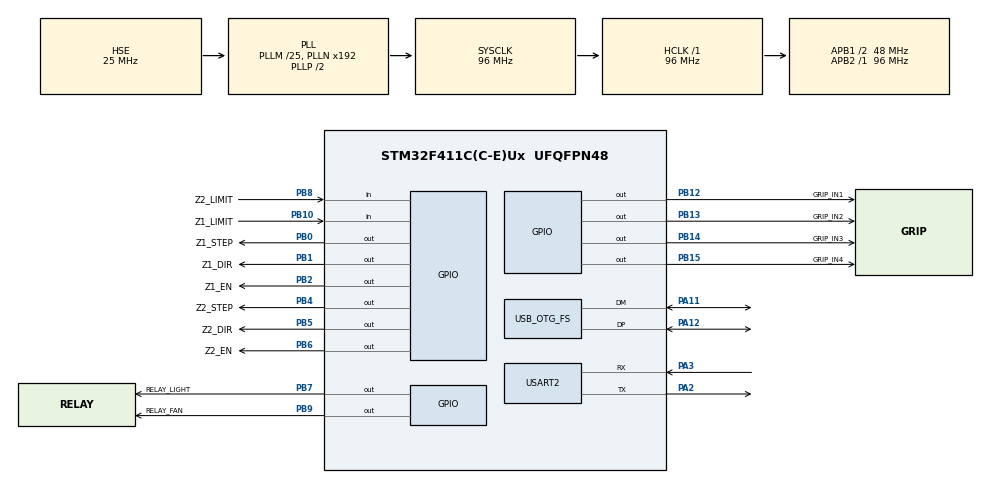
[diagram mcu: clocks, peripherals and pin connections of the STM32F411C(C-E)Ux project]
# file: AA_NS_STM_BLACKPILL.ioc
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Mcu.Family=STM32F4
Mcu.Name=STM32F411C(C-E)Ux
Mcu.Package=UFQFPN48
NVIC.OTG_FS_IRQn=true\:5\:0\:true\:false\:true\:false\:true\:true
NVIC.PriorityGroup=NVIC_PRIORITYGROUP_4
NVIC.TIM3_IRQn=true\:0\:0\:false\:false\:true\:true\:true\:true
NVIC.USART2_IRQn=true\:5\:0\:true\:false\:true\:true\:true\:true
PA11.Mode=Device_Only
PA11.Signal=USB_OTG_FS_DM
PA12.Mode=Device_Only
PA12.Signal=USB_OTG_FS_DP
PA13.Mode=Serial_Wire
PA13.Signal=SYS_JTMS-SWDIO
PA14.Mode=Serial_Wire
PA14.Signal=SYS_JTCK-SWCLK
PA2.Mode=Asynchronous
PA2.Signal=USART2_TX
PA3.Mode=Asynchronous
PA3.Signal=USART2_RX
PB0.GPIO_Label=Z1_STEP
PB0.Signal=GPIO_Output
PB1.GPIO_Label=Z1_DIR
PB1.Signal=GPIO_Output
PB10.GPIO_Label=Z1_LIMIT
PB10.GPIO_PuPd=GPIO_PULLUP
PB10.Signal=GPIO_Input
PB12.GPIO_Label=GRIP_IN1
PB12.Signal=GPIO_Output
PB13.GPIO_Label=GRIP_IN2
PB13.Signal=GPIO_Output
PB14.GPIO_Label=GRIP_IN3
PB14.Signal=GPIO_Output
PB15.GPIO_Label=GRIP_IN4
PB15.Signal=GPIO_Output
PB2.GPIO_Label=Z1_EN
PB2.Signal=GPIO_Output
PB4.GPIO_Label=Z2_STEP
PB4.Signal=GPIO_Output
PB5.GPIO_Label=Z2_DIR
PB5.Signal=GPIO_Output
PB6.GPIO_Label=Z2_EN
PB6.Signal=GPIO_Output
PB7.GPIO_Label=RELAY_LIGHT
PB7.Signal=GPIO_Output
PB8.GPIO_Label=Z2_LIMIT
PB8.GPIO_PuPd=GPIO_PULLUP
PB8.Signal=GPIO_Input
PB9.GPIO_Label=RELAY_FAN
PB9.Signal=GPIO_Output
PH0\ -\ OSC_IN.Mode=HSE-External-Oscillator
PH0\ -\ OSC_IN.Signal=RCC_OSC_IN
PH1\ -\ OSC_OUT.Mode=HSE-External-Oscillator
PH1\ -\ OSC_OUT.Signal=RCC_OSC_OUT
ProjectManager.HeapSize=0x200
ProjectManager.StackSize=0x400
ProjectManager.TargetToolchain=CMake
RCC.48MHZClocksFreq_Value=48000000
RCC.AHBFreq_Value=96000000
RCC.APB1CLKDivider=RCC_HCLK_DIV2
RCC.APB1Freq_Value=48000000
RCC.APB1TimFreq_Value=96000000
RCC.APB2Freq_Value=96000000
RCC.APB2TimFreq_Value=96000000
RCC.CortexFreq_Value=96000000
RCC.HCLKFreq_Value=96000000
RCC.HSE_VALUE=25000000
RCC.HSI_VALUE=16000000
RCC.LSE_VALUE=32768
RCC.PLLM=25
RCC.SYSCLKFreq_VALUE=96000000
RCC.SYSCLKSource=RCC_SYSCLKSOURCE_PLLCLK
RCC.VCOOutputFreq_Value=192000000
TIM3.Period=99
TIM3.Prescaler=99
USART2.VirtualMode=VM_ASYNC
USB_DEVICE.CLASS_NAME_FS=CDC
USB_DEVICE.VirtualMode=Cdc
USB_DEVICE.VirtualModeFS=Cdc_FS
USB_OTG_FS.VirtualMode=Device_Only
VP_TIM3_VS_ClockSourceINT.Mode=Internal
VP_USB_DEVICE_VS_USB_DEVICE_CDC_FS.Mode=CDC_FS
board=custom

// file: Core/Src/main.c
/* USER CODE BEGIN Header */
/**
  ******************************************************************************
  * @file           : main.c
  * @brief          : Main program body
  ******************************************************************************
  * @attention
  *
  * Copyright (c) 2026 STMicroelectronics.
  * All rights reserved.
  *
  * This software is licensed under terms that can be found in the LICENSE file
  * in the root directory of this software component.
  * If no LICENSE file comes with this software, it is provided AS-IS.
  *
  ******************************************************************************
  */
/* USER CODE END Header */
#include "main.h"
#include "usb_device.h"

/* USER CODE BEGIN Includes */
#include <stdio.h>
#include "relay.h"
#include "hatch.h"
#include "alignment.h"
#include "system.h"
#include "commands.h"
#include "console.h"
#include "stakhal_build_info.h"
/* USER CODE END Includes */

TIM_HandleTypeDef htim3;

UART_HandleTypeDef huart2;

/* USER CODE BEGIN PV */
/* All state (steppers, hatch, relays, UART command buffer) now lives
 * inside its own module - see relay.c, hatch.c, alignment.c, commands.c.
 * main.c no longer holds any of the system's runtime state itself. */
static IWDG_HandleTypeDef hiwdg;
/* USER CODE END PV */

void SystemClock_Config(void);
static void MX_GPIO_Init(void);
static void MX_TIM3_Init(void);
static void MX_USART2_UART_Init(void);
/* USER CODE BEGIN PFP */
/* (nothing needed here - relay.h/hatch.h/alignment.h/commands.h already
 * declare everything main.c calls) */
/* USER CODE END PFP */

/* USER CODE BEGIN 0 */
/* Everything that used to live here (stepper helpers, hatch GPIO,
 * relay GPIO, fault(), the TIM3 ISR, the UART RX callback) now lives in
 * its owning module. This file keeps only the printf-to-UART retarget,
 * since that's generic C-runtime glue, not domain logic. */
int _write(int file, char *ptr, int len) {
    (void)file;
    console_write((const uint8_t*)ptr, (uint16_t)len);
    return len;
}

static void print_banner(void) {
    printf("READY\r\nCAL REQUIRED\r\n");
    printf("STAKHAL_BUILD: %s\r\n", STAKHAL_BUILD_HASH);
}
/* USER CODE END 0 */

int main(void)
{

  /* MCU Configuration--------------------------------------------------------*/

  /* Reset of all peripherals, Initializes the Flash interface and the Systick. */
  HAL_Init();

  /* Configure the system clock */
  SystemClock_Config();

  /* Initialize all configured peripherals */
  MX_GPIO_Init();
  MX_TIM3_Init();
  MX_USART2_UART_Init();
  MX_USB_DEVICE_Init();
  /* USER CODE BEGIN 2 */
#ifndef RENODE_BUILD
  /* Independent watchdog: a separate internal timer that resets the
   * whole chip if the main loop ever stops refreshing it (a hang,
   * corrupted state, anything unanticipated) - a safety net of last
   * resort for a board that drives real motors and an actuator.
   * ~2s timeout (32kHz LSI / 64 prescaler, reload 999) - comfortably
   * longer than one loop iteration even with a blocking printf(), short
   * enough to recover quickly from a genuine hang. Once started this
   * cannot be stopped in software until the next full reset - that's a
   * hardware property of IWDG, not a bug.
   * Skipped entirely under RENODE_BUILD: Renode's IWDG timing runs
   * closer to host wall-clock than simulated LSI, and can trip this
   * spuriously when the sim is running slower than real-time - never
   * define RENODE_BUILD for a binary you intend to flash. */
  hiwdg.Instance = IWDG;
  hiwdg.Init.Prescaler = IWDG_PRESCALER_64;
  hiwdg.Init.Reload = 999;
  if (HAL_IWDG_Init(&hiwdg) != HAL_OK) {
      Error_Handler();
  }
#endif

  relay_init();      /* force light/fan off - don't trust CubeMX's GPIO init level */
  alignment_init(&htim3);
#ifdef CONSOLE_USB
  commands_init(NULL);          /* input arrives via console_usb_rx() */
#else
  commands_init(&huart2);
#endif
  HAL_TIM_Base_Start_IT(&htim3);

  print_banner();
  /* USER CODE END 2 */

  /* Infinite loop */
  while (1)
  {

    /* USER CODE BEGIN 3 */
    uint32_t now = HAL_GetTick();

    relay_update(now);
    hatch_update(now);
    alignment_update(now);
    commands_update(now);
    console_poll();
#ifdef CONSOLE_USB
    /* The boot banner is printed before the host has enumerated the
     * device, so it is lost; re-send it when the port is opened, unless
     * the session already started (a stale "CAL REQUIRED" would lie). */
    if (console_take_open_event() && !commands_seen_any()) {
        print_banner();
    }
#endif

    /* Pet the watchdog - must happen every iteration, and last, so a
     * hang anywhere above (not just a literal infinite loop, but any
     * module silently taking too long) is what trips the reset, not
     * something after it. Guarded the same as the init above - Renode's
     * IWDG timing can trip this spuriously; never define RENODE_BUILD
     * for a binary you intend to flash. */
#ifndef RENODE_BUILD
    HAL_IWDG_Refresh(&hiwdg);
#endif
  }
  /* USER CODE END 3 */
}

void SystemClock_Config(void)
{
  RCC_OscInitTypeDef RCC_OscInitStruct = {0};
  RCC_ClkInitTypeDef RCC_ClkInitStruct = {0};

  /** Configure the main internal regulator output voltage
  */
  __HAL_RCC_PWR_CLK_ENABLE();
  __HAL_PWR_VOLTAGESCALING_CONFIG(PWR_REGULATOR_VOLTAGE_SCALE1);

  /** Initializes the RCC Oscillators according to the specified parameters
  * in the RCC_OscInitTypeDef structure.
  */
  RCC_OscInitStruct.OscillatorType = RCC_OSCILLATORTYPE_HSE;
  RCC_OscInitStruct.HSEState = RCC_HSE_ON;
  RCC_OscInitStruct.PLL.PLLState = RCC_PLL_ON;
  RCC_OscInitStruct.PLL.PLLSource = RCC_PLLSOURCE_HSE;
  RCC_OscInitStruct.PLL.PLLM = 25;
  RCC_OscInitStruct.PLL.PLLN = 192;
  RCC_OscInitStruct.PLL.PLLP = RCC_PLLP_DIV2;
  RCC_OscInitStruct.PLL.PLLQ = 4;
  if (HAL_RCC_OscConfig(&RCC_OscInitStruct) != HAL_OK)
  {
    Error_Handler();
  }

  /** Initializes the CPU, AHB and APB buses clocks
  */
  RCC_ClkInitStruct.ClockType = RCC_CLOCKTYPE_HCLK|RCC_CLOCKTYPE_SYSCLK
                              |RCC_CLOCKTYPE_PCLK1|RCC_CLOCKTYPE_PCLK2;
  RCC_ClkInitStruct.SYSCLKSource = RCC_SYSCLKSOURCE_PLLCLK;
  RCC_ClkInitStruct.AHBCLKDivider = RCC_SYSCLK_DIV1;
  RCC_ClkInitStruct.APB1CLKDivider = RCC_HCLK_DIV2;
  RCC_ClkInitStruct.APB2CLKDivider = RCC_HCLK_DIV1;

  if (HAL_RCC_ClockConfig(&RCC_ClkInitStruct, FLASH_LATENCY_3) != HAL_OK)
  {
    Error_Handler();
  }
}

static void MX_TIM3_Init(void)
{

  TIM_ClockConfigTypeDef sClockSourceConfig = {0};
  TIM_MasterConfigTypeDef sMasterConfig = {0};

  htim3.Instance = TIM3;
  htim3.Init.Prescaler = 99;
  htim3.Init.CounterMode = TIM_COUNTERMODE_UP;
  htim3.Init.Period = 99;
  htim3.Init.ClockDivision = TIM_CLOCKDIVISION_DIV1;
  htim3.Init.AutoReloadPreload = TIM_AUTORELOAD_PRELOAD_DISABLE;
  if (HAL_TIM_Base_Init(&htim3) != HAL_OK)
  {
    Error_Handler();
  }
  sClockSourceConfig.ClockSource = TIM_CLOCKSOURCE_INTERNAL;
  if (HAL_TIM_ConfigClockSource(&htim3, &sClockSourceConfig) != HAL_OK)
  {
    Error_Handler();
  }
  sMasterConfig.MasterOutputTrigger = TIM_TRGO_RESET;
  sMasterConfig.MasterSlaveMode = TIM_MASTERSLAVEMODE_DISABLE;
  if (HAL_TIMEx_MasterConfigSynchronization(&htim3, &sMasterConfig) != HAL_OK)
  {
    Error_Handler();
  }

}

static void MX_USART2_UART_Init(void)
{

  huart2.Instance = USART2;
  huart2.Init.BaudRate = 115200;
  huart2.Init.WordLength = UART_WORDLENGTH_8B;
  huart2.Init.StopBits = UART_STOPBITS_1;
  huart2.Init.Parity = UART_PARITY_NONE;
  huart2.Init.Mode = UART_MODE_TX_RX;
  huart2.Init.HwFlowCtl = UART_HWCONTROL_NONE;
  huart2.Init.OverSampling = UART_OVERSAMPLING_16;
  if (HAL_UART_Init(&huart2) != HAL_OK)
  {
    Error_Handler();
  }

}

static void MX_GPIO_Init(void)
{
  GPIO_InitTypeDef GPIO_InitStruct = {0};

  /* GPIO Ports Clock Enable */
  __HAL_RCC_GPIOH_CLK_ENABLE();
  __HAL_RCC_GPIOA_CLK_ENABLE();
  __HAL_RCC_GPIOB_CLK_ENABLE();

  /*Configure GPIO pin Output Level */
  HAL_GPIO_WritePin(GPIOB, Z1_STEP_Pin|Z1_DIR_Pin|Z1_EN_Pin|GRIP_IN1_Pin
                          |GRIP_IN2_Pin|GRIP_IN3_Pin|GRIP_IN4_Pin|Z2_STEP_Pin
                          |Z2_DIR_Pin|Z2_EN_Pin|RELAY_LIGHT_Pin|RELAY_FAN_Pin, GPIO_PIN_RESET);

  /*Configure GPIO pins : Z1_STEP_Pin Z1_DIR_Pin Z1_EN_Pin GRIP_IN1_Pin
                           GRIP_IN2_Pin GRIP_IN3_Pin GRIP_IN4_Pin Z2_STEP_Pin
                           Z2_DIR_Pin Z2_EN_Pin RELAY_LIGHT_Pin RELAY_FAN_Pin */
  GPIO_InitStruct.Pin = Z1_STEP_Pin|Z1_DIR_Pin|Z1_EN_Pin|GRIP_IN1_Pin
                          |GRIP_IN2_Pin|GRIP_IN3_Pin|GRIP_IN4_Pin|Z2_STEP_Pin
                          |Z2_DIR_Pin|Z2_EN_Pin|RELAY_LIGHT_Pin|RELAY_FAN_Pin;
  GPIO_InitStruct.Mode = GPIO_MODE_OUTPUT_PP;
  GPIO_InitStruct.Pull = GPIO_NOPULL;
  GPIO_InitStruct.Speed = GPIO_SPEED_FREQ_LOW;
  HAL_GPIO_Init(GPIOB, &GPIO_InitStruct);

  /*Configure GPIO pins : Z1_LIMIT_Pin Z2_LIMIT_Pin */
  GPIO_InitStruct.Pin = Z1_LIMIT_Pin|Z2_LIMIT_Pin;
  GPIO_InitStruct.Mode = GPIO_MODE_INPUT;
  GPIO_InitStruct.Pull = GPIO_PULLUP;
  HAL_GPIO_Init(GPIOB, &GPIO_InitStruct);

}

void Error_Handler(void)
{
  /* USER CODE BEGIN Error_Handler_Debug */
  /* User can add his own implementation to report the HAL error return state */
  /* Make outputs safe BEFORE spinning: with IRQs masked the step ISR stops,
   * but drivers/relays/H-bridge would otherwise hold their last state until
   * the watchdog resets the chip (~2s, or never if IWDG isn't started yet). */
  system_force_safe_outputs();
  __disable_irq();
  while (1)
  {
  }
  /* USER CODE END Error_Handler_Debug */
}
